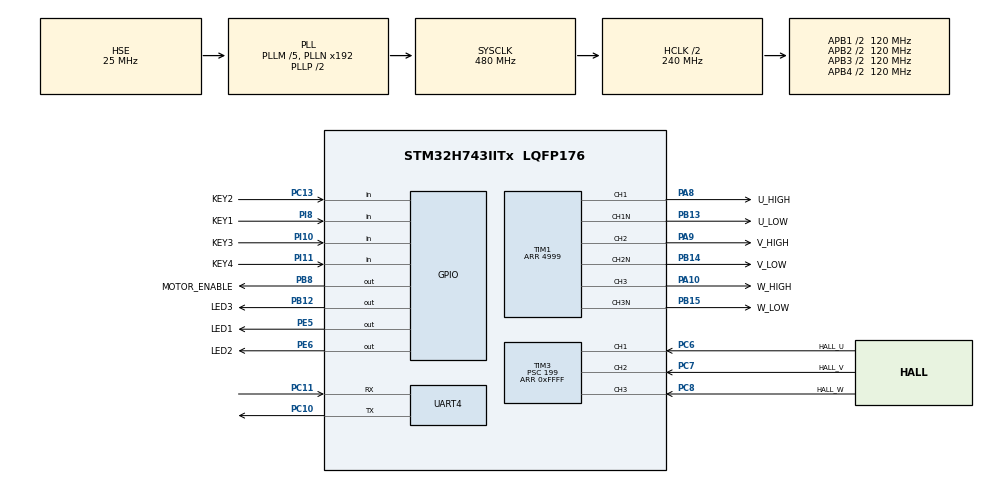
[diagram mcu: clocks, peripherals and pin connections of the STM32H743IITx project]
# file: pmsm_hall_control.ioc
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CORTEX_M7.CPU_DCache=Enabled
CORTEX_M7.CPU_ICache=Enabled
CORTEX_M7.default_mode_Activation=0
Dma.Request0=UART4_RX
Dma.UART4_RX.0.Direction=DMA_PERIPH_TO_MEMORY
Dma.UART4_RX.0.EventEnable=DISABLE
Dma.UART4_RX.0.FIFOMode=DMA_FIFOMODE_DISABLE
Dma.UART4_RX.0.Instance=DMA1_Stream0
Dma.UART4_RX.0.MemDataAlignment=DMA_MDATAALIGN_BYTE
Dma.UART4_RX.0.MemInc=DMA_MINC_ENABLE
Dma.UART4_RX.0.Mode=DMA_NORMAL
Dma.UART4_RX.0.PeriphDataAlignment=DMA_PDATAALIGN_BYTE
Dma.UART4_RX.0.PeriphInc=DMA_PINC_DISABLE
Dma.UART4_RX.0.Polarity=HAL_DMAMUX_REQ_GEN_RISING
Dma.UART4_RX.0.Priority=DMA_PRIORITY_LOW
Dma.UART4_RX.0.RequestNumber=1
Dma.UART4_RX.0.SignalID=NONE
Dma.UART4_RX.0.SyncEnable=DISABLE
Dma.UART4_RX.0.SyncPolarity=HAL_DMAMUX_SYNC_NO_EVENT
Dma.UART4_RX.0.SyncRequestNumber=1
Dma.UART4_RX.0.SyncSignalID=NONE
Mcu.Family=STM32H7
Mcu.Name=STM32H743IITx
Mcu.Package=LQFP176
NVIC.DMA1_Stream0_IRQn=true\:0\:0\:false\:false\:true\:false\:true\:true
NVIC.PriorityGroup=NVIC_PRIORITYGROUP_4
NVIC.TIM3_IRQn=true\:0\:0\:false\:false\:true\:true\:true\:true
NVIC.UART4_IRQn=true\:0\:0\:false\:false\:true\:true\:true\:true
PA10.GPIO_Label=W_HIGH
PA10.GPIO_Speed=GPIO_SPEED_FREQ_HIGH
PA10.Signal=S_TIM1_CH3
PA13\ (JTMS/SWDIO).Mode=Serial_Wire
PA13\ (JTMS/SWDIO).Signal=DEBUG_JTMS-SWDIO
PA14\ (JTCK/SWCLK).Mode=Serial_Wire
PA14\ (JTCK/SWCLK).Signal=DEBUG_JTCK-SWCLK
PA8.GPIO_Label=U_HIGH
PA8.GPIO_Speed=GPIO_SPEED_FREQ_HIGH
PA8.Signal=S_TIM1_CH1
PA9.GPIO_Label=V_HIGH
PA9.GPIO_Speed=GPIO_SPEED_FREQ_HIGH
PA9.Signal=S_TIM1_CH2
PB10.Signal=USART3_TX
PB11.Signal=USART3_RX
PB12.GPIO_Label=LED3
PB12.Signal=GPIO_Output
PB13.GPIO_Label=U_LOW
PB13.GPIO_Speed=GPIO_SPEED_FREQ_HIGH
PB13.Mode=PWM Generation1 CH1 CH1N
PB13.Signal=TIM1_CH1N
PB14.GPIO_Label=V_LOW
PB14.GPIO_Speed=GPIO_SPEED_FREQ_HIGH
PB14.Mode=PWM Generation2 CH2 CH2N
PB14.Signal=TIM1_CH2N
PB15.GPIO_Label=W_LOW
PB15.GPIO_Speed=GPIO_SPEED_FREQ_HIGH
PB15.Mode=PWM Generation3 CH3 CH3N
PB15.Signal=TIM1_CH3N
PB8.GPIO_Label=MOTOR_ENABLE
PB8.GPIO_Speed=GPIO_SPEED_FREQ_HIGH
PB8.Signal=GPIO_Output
PC10.Mode=Asynchronous
PC10.Signal=UART4_TX
PC11.Mode=Asynchronous
PC11.Signal=UART4_RX
PC13.GPIO_Label=KEY2
PC13.Signal=GPIO_Input
PC6.GPIO_Label=HALL_U
PC6.GPIO_Speed=GPIO_SPEED_FREQ_HIGH
PC6.Signal=S_TIM3_CH1
PC7.GPIO_Label=HALL_V
PC7.GPIO_Speed=GPIO_SPEED_FREQ_HIGH
PC7.Signal=S_TIM3_CH2
PC8.GPIO_Label=HALL_W
PC8.GPIO_Speed=GPIO_SPEED_FREQ_HIGH
PC8.Signal=S_TIM3_CH3
PE5.GPIO_Label=LED1
PE5.Signal=GPIO_Output
PE6.GPIO_Label=LED2
PE6.Signal=GPIO_Output
PH0-OSC_IN\ (PH0).Mode=HSE-External-Oscillator
PH0-OSC_IN\ (PH0).Signal=RCC_OSC_IN
PH1-OSC_OUT\ (PH1).Mode=HSE-External-Oscillator
PH1-OSC_OUT\ (PH1).Signal=RCC_OSC_OUT
PI10.GPIO_Label=KEY3
PI10.Signal=GPIO_Input
PI11.GPIO_Label=KEY4
PI11.Signal=GPIO_Input
PI8.GPIO_Label=KEY1
PI8.Signal=GPIO_Input
ProjectManager.HeapSize=0x200
ProjectManager.StackSize=0x400
ProjectManager.TargetToolchain=MDK-ARM V5.32
RCC.ADCFreq_Value=50390625
RCC.APB1Freq_Value=120000000
RCC.APB2Freq_Value=120000000
RCC.APB3Freq_Value=120000000
RCC.APB4Freq_Value=120000000
RCC.CortexFreq_Value=480000000
RCC.D1PPRE=RCC_APB3_DIV2
RCC.D2PPRE1=RCC_APB1_DIV2
RCC.D2PPRE2=RCC_APB2_DIV2
RCC.D3PPRE=RCC_APB4_DIV2
RCC.DIVM1=5
RCC.DIVN1=192
RCC.HCLKFreq_Value=240000000
RCC.HPRE=RCC_HCLK_DIV2
RCC.PLL2FRACN=0
RCC.PLL3FRACN=0
RCC.PLLFRACN=0
RCC.PLLSourceVirtual=RCC_PLLSOURCE_HSE
RCC.PWR_Regulator_Voltage_Scale=PWR_REGULATOR_VOLTAGE_SCALE0
RCC.SYSCLKFreq_VALUE=480000000
RCC.SYSCLKSource=RCC_SYSCLKSOURCE_PLLCLK
RCC.USBFreq_Value=480000000
SH.S_TIM1_CH1.0=TIM1_CH1,PWM Generation1 CH1 CH1N
SH.S_TIM1_CH2.0=TIM1_CH2,PWM Generation2 CH2 CH2N
SH.S_TIM1_CH3.0=TIM1_CH3,PWM Generation3 CH3 CH3N
SH.S_TIM3_CH1.0=TIM3_CH1,Xored_Inputs_Hall_Sensor_Interface
SH.S_TIM3_CH2.0=TIM3_CH2,Xored_Inputs_Hall_Sensor_Interface
SH.S_TIM3_CH3.0=TIM3_CH3,Xored_Inputs_Hall_Sensor_Interface
STMicroelectronics.X-CUBE-ALGOBUILD.1.3.0.LibraryCcDSPOoLibraryJjDSPOoLibrary=true
TIM1.BreakState=TIM_BREAK_ENABLE
TIM1.Channel-PWM\ Generation1\ CH1\ CH1N=TIM_CHANNEL_1
TIM1.Channel-PWM\ Generation2\ CH2\ CH2N=TIM_CHANNEL_2
TIM1.Channel-PWM\ Generation3\ CH3\ CH3N=TIM_CHANNEL_3
TIM1.CounterMode=TIM_COUNTERMODE_CENTERALIGNED1
TIM1.DeadTime=0x28
TIM1.OC1Preload_PWM=ENABLE
TIM1.OCFastMode_PWM-PWM\ Generation1\ CH1\ CH1N=TIM_OCFAST_DISABLE
TIM1.OCFastMode_PWM-PWM\ Generation2\ CH2\ CH2N=TIM_OCFAST_DISABLE
TIM1.OCFastMode_PWM-PWM\ Generation3\ CH3\ CH3N=TIM_OCFAST_DISABLE
TIM1.OffStateIDLEMode=TIM_OSSI_ENABLE
TIM1.OffStateRunMode=TIM_OSSR_ENABLE
TIM1.Period=4999
TIM3.AutoReloadPreload=TIM_AUTORELOAD_PRELOAD_ENABLE
TIM3.Commutation_Delay=3
TIM3.CounterMode=TIM_COUNTERMODE_CENTERALIGNED1
TIM3.IC1Filter=0x0E
TIM3.Period=0xFFFF
TIM3.Prescaler=199
VP_STMicroelectronics.X-CUBE-ALGOBUILD_VS_DSPOoLibraryJjLibrary_1.3.0_1.3.0.Mode=DSPOoLibraryJjLibrary
VP_TIM1_VS_ClockSourceINT.Mode=Internal
board=custom

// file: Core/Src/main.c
/* USER CODE BEGIN Header */
/**
  ******************************************************************************
  * @file           : main.c
  * @brief          : Main program body
  ******************************************************************************
  * @attention
  *
  * Copyright (c) 2024 STMicroelectronics.
  * All rights reserved.
  *
  * This software is licensed under terms that can be found in the LICENSE file
  * in the root directory of this software component.
  * If no LICENSE file comes with this software, it is provided AS-IS.
  *
  ******************************************************************************
  */
/* USER CODE END Header */
#include "main.h"
#include "dma.h"
#include "tim.h"
#include "usart.h"
#include "gpio.h"

/* USER CODE BEGIN Includes */
#include "stm32h7xx_hal_rcc.h"
#include "stdio.h"
#include "bsp_motor.h"
#include "bsp_hall.h"
#include "protocol_niming_upper.h"
#include "protocol_uart_sei.h"
#include "algorithm_pid.h"
#include "algorithm_filtering.h"
#include "math.h"
#include "debug.h"
/* USER CODE END Includes */

/* USER CODE BEGIN PV */
MotorSta_Typedef global_motorsta;
MotorDir_Typedef global_motordir;
FOLPF_HandleTypeDef global_speed_hz;
PID_LOC_HandleTypedef motor_speed_pid;
uint32_t global_pwm_duty=0;
uint8_t state=0x00;
uint8_t uart_rx_buffer[UART_BUFFER_LEN];
float32_t motor_control_val=0;
/* USER CODE END PV */

void SystemClock_Config(void);

int main(void)
{
/* Enable the CPU Cache */

  /* Enable I-Cache---------------------------------------------------------*/
  SCB_EnableICache();

  /* Enable D-Cache---------------------------------------------------------*/
  SCB_EnableDCache();

  /* MCU Configuration--------------------------------------------------------*/

  /* Reset of all peripherals, Initializes the Flash interface and the Systick. */
  HAL_Init();

  /* Configure the system clock */
  SystemClock_Config();

  /* Initialize all configured peripherals */
  MX_GPIO_Init();
  MX_DMA_Init();
  MX_TIM3_Init();
  MX_TIM1_Init();
  MX_UART4_Init();
  /* USER CODE BEGIN 2 */
  __HAL_DBGMCU_FREEZE_TIM1();
  __HAL_DBGMCU_FREEZE_TIM3();
  HALLSENSOR_TIMxStart(&htim3);
  FLOAT_FirstOrderLowPassFiltering_DataInit(&global_speed_hz,SPEED_HZ_FILTERING_ALPHA);
  PID_LOC_Init(&motor_speed_pid,500.f,0.75f,0.45f,0.f);

  __HAL_UART_ENABLE_IT(&huart4,UART_IT_IDLE);
  HAL_UART_Receive_DMA(&huart4,(uint8_t *)uart_rx_buffer,UART_BUFFER_LEN);
  /* USER CODE END 2 */

  /* Infinite loop */
  /* USER CODE BEGIN WHILE */
  MOTOR_Start(&htim1,&htim3);
  while (1)
  {
    Protocol_UARTxRXProcess();
    if(state&0x01){
      global_speed_hz.current_val=HALLSENSOR_SpeedFrequency_Hz();
      FLOAT_FirstOrderLowPassFiltering_Process(&global_speed_hz);
      motor_control_val=PID_LOC_Process(&motor_speed_pid,round(global_speed_hz.current_val/PPR*60));
      MOTOR_SpeedControl(&htim1,round(motor_control_val));
      state&=~0x01;
    }
    if(state&0x02){
      Protocol_NIMING_Mortor(&huart4,0xF1,global_speed_hz.current_val,global_speed_hz.current_val/PPR,global_speed_hz.current_val/PPR*60);
      state&=~0x02;
    }
    /* USER CODE END WHILE */

  }
}

void SystemClock_Config(void)
{
  RCC_OscInitTypeDef RCC_OscInitStruct = {0};
  RCC_ClkInitTypeDef RCC_ClkInitStruct = {0};

  /** Supply configuration update enable
  */
  HAL_PWREx_ConfigSupply(PWR_LDO_SUPPLY);

  /** Configure the main internal regulator output voltage
  */
  __HAL_PWR_VOLTAGESCALING_CONFIG(PWR_REGULATOR_VOLTAGE_SCALE1);

  while(!__HAL_PWR_GET_FLAG(PWR_FLAG_VOSRDY)) {}

  __HAL_RCC_SYSCFG_CLK_ENABLE();
  __HAL_PWR_VOLTAGESCALING_CONFIG(PWR_REGULATOR_VOLTAGE_SCALE0);

  while(!__HAL_PWR_GET_FLAG(PWR_FLAG_VOSRDY)) {}

  /** Initializes the RCC Oscillators according to the specified parameters
  * in the RCC_OscInitTypeDef structure.
  */
  RCC_OscInitStruct.OscillatorType = RCC_OSCILLATORTYPE_HSE;
  RCC_OscInitStruct.HSEState = RCC_HSE_ON;
  RCC_OscInitStruct.PLL.PLLState = RCC_PLL_ON;
  RCC_OscInitStruct.PLL.PLLSource = RCC_PLLSOURCE_HSE;
  RCC_OscInitStruct.PLL.PLLM = 5;
  RCC_OscInitStruct.PLL.PLLN = 192;
  RCC_OscInitStruct.PLL.PLLP = 2;
  RCC_OscInitStruct.PLL.PLLQ = 2;
  RCC_OscInitStruct.PLL.PLLR = 2;
  RCC_OscInitStruct.PLL.PLLRGE = RCC_PLL1VCIRANGE_2;
  RCC_OscInitStruct.PLL.PLLVCOSEL = RCC_PLL1VCOWIDE;
  RCC_OscInitStruct.PLL.PLLFRACN = 0;
  if (HAL_RCC_OscConfig(&RCC_OscInitStruct) != HAL_OK)
  {
    Error_Handler();
  }

  /** Initializes the CPU, AHB and APB buses clocks
  */
  RCC_ClkInitStruct.ClockType = RCC_CLOCKTYPE_HCLK|RCC_CLOCKTYPE_SYSCLK
                              |RCC_CLOCKTYPE_PCLK1|RCC_CLOCKTYPE_PCLK2
                              |RCC_CLOCKTYPE_D3PCLK1|RCC_CLOCKTYPE_D1PCLK1;
  RCC_ClkInitStruct.SYSCLKSource = RCC_SYSCLKSOURCE_PLLCLK;
  RCC_ClkInitStruct.SYSCLKDivider = RCC_SYSCLK_DIV1;
  RCC_ClkInitStruct.AHBCLKDivider = RCC_HCLK_DIV2;
  RCC_ClkInitStruct.APB3CLKDivider = RCC_APB3_DIV2;
  RCC_ClkInitStruct.APB1CLKDivider = RCC_APB1_DIV2;
  RCC_ClkInitStruct.APB2CLKDivider = RCC_APB2_DIV2;
  RCC_ClkInitStruct.APB4CLKDivider = RCC_APB4_DIV2;

  if (HAL_RCC_ClockConfig(&RCC_ClkInitStruct, FLASH_LATENCY_4) != HAL_OK)
  {
    Error_Handler();
  }
}

void Error_Handler(void)
{
  __disable_irq();
  while (1)
  {
  }
}
